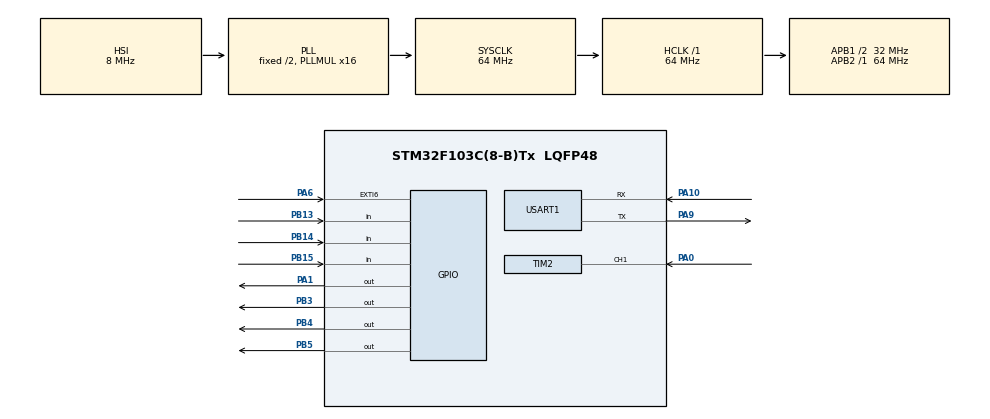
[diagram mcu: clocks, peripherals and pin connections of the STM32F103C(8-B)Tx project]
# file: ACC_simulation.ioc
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Mcu.Family=STM32F1
Mcu.Name=STM32F103C(8-B)Tx
Mcu.Package=LQFP48
NVIC.EXTI9_5_IRQn=true\:1\:0\:true\:false\:true\:true\:true\:true
NVIC.PriorityGroup=NVIC_PRIORITYGROUP_4
NVIC.TIM2_IRQn=true\:1\:0\:true\:false\:true\:true\:true\:true
NVIC.TIM3_IRQn=true\:1\:0\:true\:false\:true\:true\:true\:true
PA0-WKUP.Signal=S_TIM2_CH1_ETR
PA1.Signal=GPIO_Output
PA10.Mode=Asynchronous
PA10.Signal=USART1_RX
PA13.Mode=Serial_Wire
PA13.Signal=SYS_JTMS-SWDIO
PA14.Mode=Serial_Wire
PA14.Signal=SYS_JTCK-SWCLK
PA6.Signal=GPXTI6
PA9.Mode=Asynchronous
PA9.Signal=USART1_TX
PB13.GPIO_PuPd=GPIO_PULLUP
PB13.Signal=GPIO_Input
PB14.GPIO_PuPd=GPIO_PULLUP
PB14.Signal=GPIO_Input
PB15.GPIO_PuPd=GPIO_PULLUP
PB15.Signal=GPIO_Input
PB3.GPIO_Speed=GPIO_SPEED_FREQ_HIGH
PB3.PinState=GPIO_PIN_RESET
PB3.Signal=GPIO_Output
PB4.GPIO_Speed=GPIO_SPEED_FREQ_HIGH
PB4.Signal=GPIO_Output
PB5.GPIO_Speed=GPIO_SPEED_FREQ_HIGH
PB5.Signal=GPIO_Output
ProjectManager.HeapSize=0x200
ProjectManager.StackSize=0x400
ProjectManager.TargetToolchain=MDK-ARM V5.32
RCC.AHBFreq_Value=64000000
RCC.APB1CLKDivider=RCC_HCLK_DIV2
RCC.APB1Freq_Value=32000000
RCC.APB1TimFreq_Value=64000000
RCC.APB2Freq_Value=64000000
RCC.APB2TimFreq_Value=64000000
RCC.HCLKFreq_Value=64000000
RCC.PLLMUL=RCC_PLL_MUL16
RCC.SYSCLKFreq_VALUE=64000000
RCC.SYSCLKSource=RCC_SYSCLKSOURCE_PLLCLK
RCC.USBFreq_Value=64000000
SH.S_TIM2_CH1_ETR.0=TIM2_CH1,Input_Capture1_from_TI1
TIM2.Channel-Input_Capture1_from_TI1=TIM_CHANNEL_1
TIM2.Prescaler=63
TIM3.Period=999
TIM3.Prescaler=63999
USART1.VirtualMode=VM_ASYNC
VP_TIM2_VS_ClockSourceINT.Mode=Internal
VP_TIM3_VS_ClockSourceINT.Mode=Internal
board=custom

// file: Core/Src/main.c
/* USER CODE BEGIN Header */
/**
  ******************************************************************************
  * @file           : main.c
  * @brief          : Main program body
  ******************************************************************************
  * @attention
  *
  * Copyright (c) 2025 STMicroelectronics.
  * All rights reserved.
  *
  * This software is licensed under terms that can be found in the LICENSE file
  * in the root directory of this software component.
  * If no LICENSE file comes with this software, it is provided AS-IS.
  *
  ******************************************************************************
  */
/* USER CODE END Header */
#include "main.h"

TIM_HandleTypeDef htim2;
TIM_HandleTypeDef htim3;

UART_HandleTypeDef huart1;

void SystemClock_Config(void);
static void MX_GPIO_Init(void);
static void MX_USART1_UART_Init(void);
static void MX_TIM2_Init(void);
static void MX_TIM3_Init(void);

/* USER CODE BEGIN 0 */
#include "HC_SR04.h"
#include "string.h"
#include "stdio.h"
#define PULSE_PER_REV 20

HC_SR04_Typedef hc_sr04;

uint32_t pulse_count = 0;
float rpm = 0;

void HAL_GPIO_EXTI_Callback(uint16_t GPIO_Pin)
{
	pulse_count++;
}

void HAL_TIM_PeriodElapsedCallback(TIM_HandleTypeDef *htim)
{
	if(htim->Instance == htim3.Instance)
	{
		rpm = ((float)pulse_count/(float)PULSE_PER_REV)*60.0f;
		char buf_uart[32];
		sprintf(buf_uart, "RPM: %.2f\n", rpm);
		HAL_UART_Transmit(&huart1, buf_uart, strlen(buf_uart), 100);
		pulse_count = 0;
	}
}

/* USER CODE END 0 */

int main(void)
{

  /* MCU Configuration--------------------------------------------------------*/

  /* Reset of all peripherals, Initializes the Flash interface and the Systick. */
  HAL_Init();

  /* Configure the system clock */
  SystemClock_Config();

  /* Initialize all configured peripherals */
  MX_GPIO_Init();
  MX_USART1_UART_Init();
  MX_TIM2_Init();
  MX_TIM3_Init();
  /* USER CODE BEGIN 2 */
	HCSR04_Init(&htim2, &hc_sr04, TIM_CHANNEL_1);
	HAL_TIM_Base_Start_IT(&htim3);
  /* USER CODE END 2 */

  /* Infinite loop */
  while (1)
  {

    /* USER CODE BEGIN 3 */
		//HCSR04_Send_Trigger(&hc_sr04, GPIOA, GPIO_PIN_1);

  }
  /* USER CODE END 3 */
}

void SystemClock_Config(void)
{
  RCC_OscInitTypeDef RCC_OscInitStruct = {0};
  RCC_ClkInitTypeDef RCC_ClkInitStruct = {0};

  /** Initializes the RCC Oscillators according to the specified parameters
  * in the RCC_OscInitTypeDef structure.
  */
  RCC_OscInitStruct.OscillatorType = RCC_OSCILLATORTYPE_HSI;
  RCC_OscInitStruct.HSIState = RCC_HSI_ON;
  RCC_OscInitStruct.HSICalibrationValue = RCC_HSICALIBRATION_DEFAULT;
  RCC_OscInitStruct.PLL.PLLState = RCC_PLL_ON;
  RCC_OscInitStruct.PLL.PLLSource = RCC_PLLSOURCE_HSI_DIV2;
  RCC_OscInitStruct.PLL.PLLMUL = RCC_PLL_MUL16;
  if (HAL_RCC_OscConfig(&RCC_OscInitStruct) != HAL_OK)
  {
    Error_Handler();
  }

  /** Initializes the CPU, AHB and APB buses clocks
  */
  RCC_ClkInitStruct.ClockType = RCC_CLOCKTYPE_HCLK|RCC_CLOCKTYPE_SYSCLK
                              |RCC_CLOCKTYPE_PCLK1|RCC_CLOCKTYPE_PCLK2;
  RCC_ClkInitStruct.SYSCLKSource = RCC_SYSCLKSOURCE_PLLCLK;
  RCC_ClkInitStruct.AHBCLKDivider = RCC_SYSCLK_DIV1;
  RCC_ClkInitStruct.APB1CLKDivider = RCC_HCLK_DIV2;
  RCC_ClkInitStruct.APB2CLKDivider = RCC_HCLK_DIV1;

  if (HAL_RCC_ClockConfig(&RCC_ClkInitStruct, FLASH_LATENCY_2) != HAL_OK)
  {
    Error_Handler();
  }
}

static void MX_TIM2_Init(void)
{

  TIM_ClockConfigTypeDef sClockSourceConfig = {0};
  TIM_MasterConfigTypeDef sMasterConfig = {0};
  TIM_IC_InitTypeDef sConfigIC = {0};

  htim2.Instance = TIM2;
  htim2.Init.Prescaler = 63;
  htim2.Init.CounterMode = TIM_COUNTERMODE_UP;
  htim2.Init.Period = 65535;
  htim2.Init.ClockDivision = TIM_CLOCKDIVISION_DIV1;
  htim2.Init.AutoReloadPreload = TIM_AUTORELOAD_PRELOAD_DISABLE;
  if (HAL_TIM_Base_Init(&htim2) != HAL_OK)
  {
    Error_Handler();
  }
  sClockSourceConfig.ClockSource = TIM_CLOCKSOURCE_INTERNAL;
  if (HAL_TIM_ConfigClockSource(&htim2, &sClockSourceConfig) != HAL_OK)
  {
    Error_Handler();
  }
  if (HAL_TIM_IC_Init(&htim2) != HAL_OK)
  {
    Error_Handler();
  }
  sMasterConfig.MasterOutputTrigger = TIM_TRGO_RESET;
  sMasterConfig.MasterSlaveMode = TIM_MASTERSLAVEMODE_DISABLE;
  if (HAL_TIMEx_MasterConfigSynchronization(&htim2, &sMasterConfig) != HAL_OK)
  {
    Error_Handler();
  }
  sConfigIC.ICPolarity = TIM_INPUTCHANNELPOLARITY_RISING;
  sConfigIC.ICSelection = TIM_ICSELECTION_DIRECTTI;
  sConfigIC.ICPrescaler = TIM_ICPSC_DIV1;
  sConfigIC.ICFilter = 0;
  if (HAL_TIM_IC_ConfigChannel(&htim2, &sConfigIC, TIM_CHANNEL_1) != HAL_OK)
  {
    Error_Handler();
  }

}

static void MX_TIM3_Init(void)
{

  TIM_ClockConfigTypeDef sClockSourceConfig = {0};
  TIM_MasterConfigTypeDef sMasterConfig = {0};

  htim3.Instance = TIM3;
  htim3.Init.Prescaler = 63999;
  htim3.Init.CounterMode = TIM_COUNTERMODE_UP;
  htim3.Init.Period = 999;
  htim3.Init.ClockDivision = TIM_CLOCKDIVISION_DIV1;
  htim3.Init.AutoReloadPreload = TIM_AUTORELOAD_PRELOAD_DISABLE;
  if (HAL_TIM_Base_Init(&htim3) != HAL_OK)
  {
    Error_Handler();
  }
  sClockSourceConfig.ClockSource = TIM_CLOCKSOURCE_INTERNAL;
  if (HAL_TIM_ConfigClockSource(&htim3, &sClockSourceConfig) != HAL_OK)
  {
    Error_Handler();
  }
  sMasterConfig.MasterOutputTrigger = TIM_TRGO_RESET;
  sMasterConfig.MasterSlaveMode = TIM_MASTERSLAVEMODE_DISABLE;
  if (HAL_TIMEx_MasterConfigSynchronization(&htim3, &sMasterConfig) != HAL_OK)
  {
    Error_Handler();
  }

}

static void MX_USART1_UART_Init(void)
{

  huart1.Instance = USART1;
  huart1.Init.BaudRate = 115200;
  huart1.Init.WordLength = UART_WORDLENGTH_8B;
  huart1.Init.StopBits = UART_STOPBITS_1;
  huart1.Init.Parity = UART_PARITY_NONE;
  huart1.Init.Mode = UART_MODE_TX_RX;
  huart1.Init.HwFlowCtl = UART_HWCONTROL_NONE;
  huart1.Init.OverSampling = UART_OVERSAMPLING_16;
  if (HAL_UART_Init(&huart1) != HAL_OK)
  {
    Error_Handler();
  }

}

static void MX_GPIO_Init(void)
{
  GPIO_InitTypeDef GPIO_InitStruct = {0};

  /* GPIO Ports Clock Enable */
  __HAL_RCC_GPIOA_CLK_ENABLE();
  __HAL_RCC_GPIOB_CLK_ENABLE();

  /*Configure GPIO pin Output Level */
  HAL_GPIO_WritePin(GPIOA, GPIO_PIN_1, GPIO_PIN_RESET);

  /*Configure GPIO pin Output Level */
  HAL_GPIO_WritePin(GPIOB, GPIO_PIN_3|GPIO_PIN_4|GPIO_PIN_5, GPIO_PIN_RESET);

  /*Configure GPIO pin : PA1 */
  GPIO_InitStruct.Pin = GPIO_PIN_1;
  GPIO_InitStruct.Mode = GPIO_MODE_OUTPUT_PP;
  GPIO_InitStruct.Pull = GPIO_NOPULL;
  GPIO_InitStruct.Speed = GPIO_SPEED_FREQ_LOW;
  HAL_GPIO_Init(GPIOA, &GPIO_InitStruct);

  /*Configure GPIO pin : PA6 */
  GPIO_InitStruct.Pin = GPIO_PIN_6;
  GPIO_InitStruct.Mode = GPIO_MODE_IT_RISING;
  GPIO_InitStruct.Pull = GPIO_NOPULL;
  HAL_GPIO_Init(GPIOA, &GPIO_InitStruct);

  /*Configure GPIO pins : PB13 PB14 PB15 */
  GPIO_InitStruct.Pin = GPIO_PIN_13|GPIO_PIN_14|GPIO_PIN_15;
  GPIO_InitStruct.Mode = GPIO_MODE_INPUT;
  GPIO_InitStruct.Pull = GPIO_PULLUP;
  HAL_GPIO_Init(GPIOB, &GPIO_InitStruct);

  /*Configure GPIO pins : PB3 PB4 PB5 */
  GPIO_InitStruct.Pin = GPIO_PIN_3|GPIO_PIN_4|GPIO_PIN_5;
  GPIO_InitStruct.Mode = GPIO_MODE_OUTPUT_PP;
  GPIO_InitStruct.Pull = GPIO_NOPULL;
  GPIO_InitStruct.Speed = GPIO_SPEED_FREQ_HIGH;
  HAL_GPIO_Init(GPIOB, &GPIO_InitStruct);

  /* EXTI interrupt init*/
  HAL_NVIC_SetPriority(EXTI9_5_IRQn, 1, 0);
  HAL_NVIC_EnableIRQ(EXTI9_5_IRQn);

}

void Error_Handler(void)
{
  __disable_irq();
  while (1)
  {
  }
}
